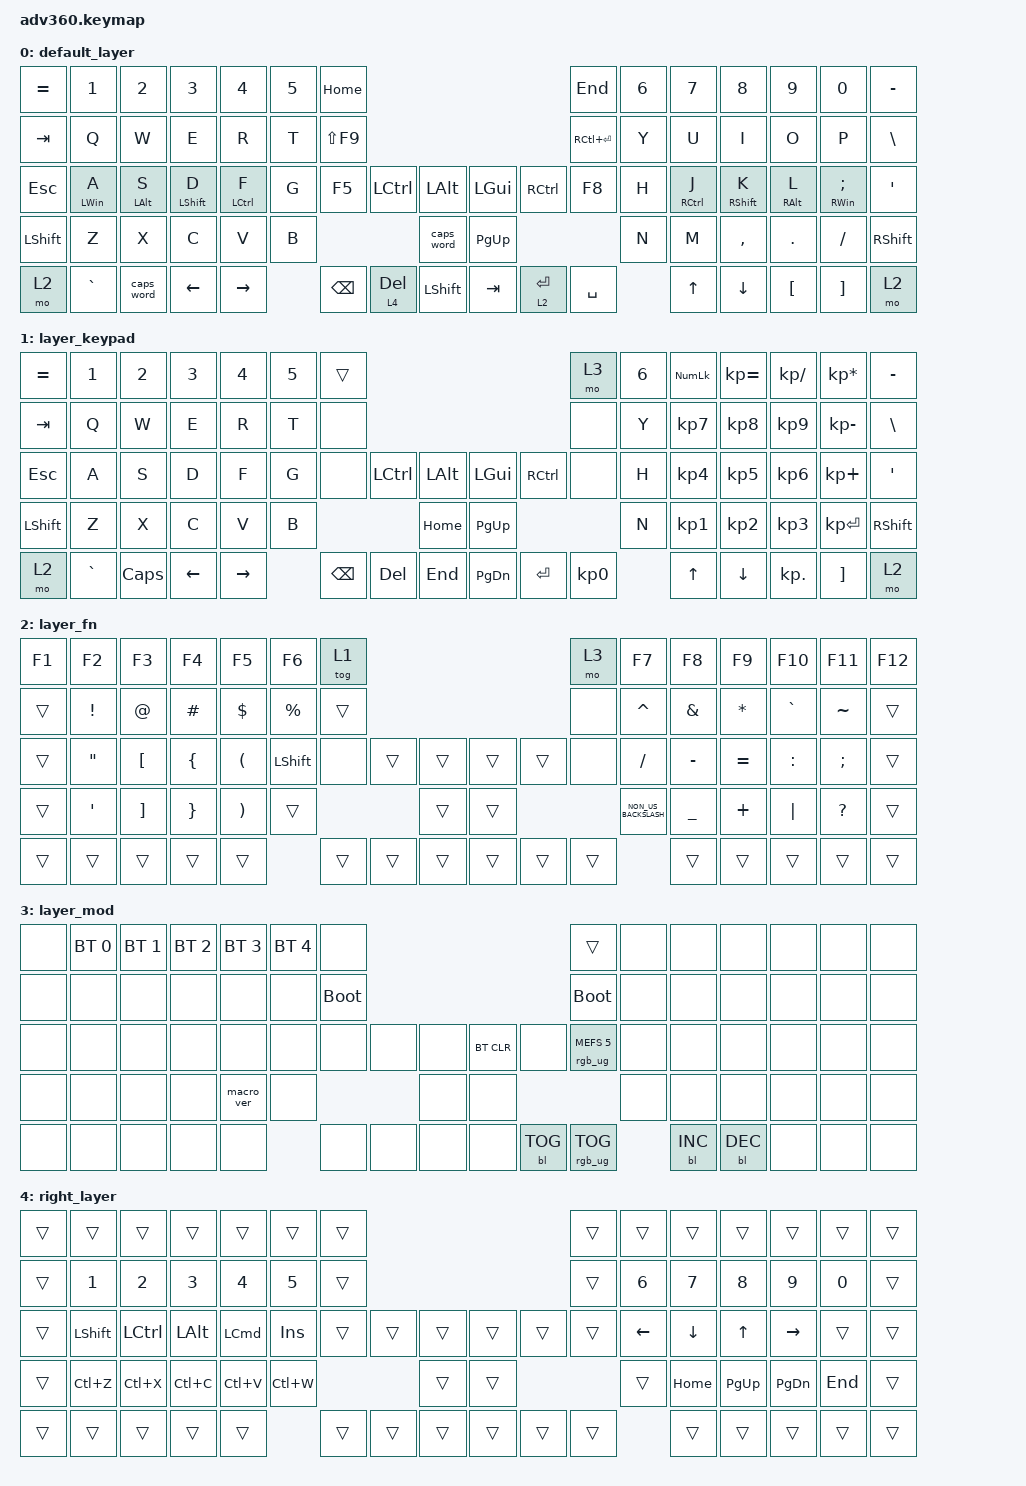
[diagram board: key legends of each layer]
/*
 * Copyright (c) 2020 The ZMK Contributors
 *
 * SPDX-License-Identifier: MIT
 */
/* THIS FILE WAS GENERATED!
 *
 * This file was generated automatically. You may or may not want to
 * edit it directly.
 */

#include <behaviors.dtsi>
#include <dt-bindings/zmk/backlight.h>
#include <dt-bindings/zmk/bt.h>
#include <dt-bindings/zmk/keys.h>
#include <dt-bindings/zmk/rgb.h>

/ {
    behaviors {
        #include "macros.dtsi"
    #include "version.dtsi"

        hm: homerow_mods {
            compatible = "zmk,behavior-hold-tap";
            label = "HOMEROW_MODS";
            #binding-cells = <2>;
            tapping-term-ms = <200>;
            flavor = "tap-preferred";
            quick-tap-ms = <125>;
            global-quick-tap;
            bindings = <&kp>, <&kp>;
        };
    };

    keymap {
        compatible = "zmk,keymap";

        default_layer {
            bindings = <
&kp EQUAL  &kp N1          &kp N2          &kp N3            &kp N4       &kp N5  &kp HOME                                                              &kp END        &kp N6  &kp N7       &kp N8             &kp N9           &kp N0                   &kp MINUS
&kp TAB    &kp Q           &kp W           &kp E             &kp R        &kp T   &kp LS(F9)                                                            &kp RC(ENTER)  &kp Y   &kp U        &kp I              &kp O            &kp P                    &kp BSLH
&kp ESC    &hm LEFT_WIN A  &hm LEFT_ALT S  &hm LEFT_SHIFT D  &hm LCTRL F  &kp G   &kp F5         &kp LCTRL  &kp LALT            &kp LGUI   &kp RCTRL    &kp F8         &kp H   &hm RCTRL J  &hm RIGHT_SHIFT K  &hm RIGHT_ALT L  &hm RIGHT_WIN SEMICOLON  &kp SQT
&kp LSHFT  &kp Z           &kp X           &kp C             &kp V        &kp B                             &caps_word          &kp PG_UP                              &kp N   &kp M        &kp COMMA          &kp DOT          &kp SLASH                &kp RSHFT
&mo 2      &kp GRAVE       &caps_word      &kp LEFT          &kp RIGHT            &kp BACKSPACE  &lt 4 DEL  &kp LEFT_SHIFT      &kp TAB    &lt 2 ENTER  &kp SPACE              &kp UP       &kp DOWN           &kp LBKT         &kp RBKT                 &mo 2
            >;
        };

        layer_keypad {
            bindings = <
&kp EQUAL  &kp N1     &kp N2    &kp N3    &kp N4     &kp N5  &trans                                                   &mo 3      &kp N6  &kp KP_NUM  &kp KP_EQUAL  &kp KP_DIVIDE  &kp KP_MULTIPLY  &kp MINUS
&kp TAB    &kp Q      &kp W     &kp E     &kp R      &kp T   &none                                                    &none      &kp Y   &kp KP_N7   &kp KP_N8     &kp KP_N9      &kp KP_MINUS     &kp BSLH
&kp ESC    &kp A      &kp S     &kp D     &kp F      &kp G   &none     &kp LCTRL  &kp LALT      &kp LGUI   &kp RCTRL  &none      &kp H   &kp KP_N4   &kp KP_N5     &kp KP_N6      &kp KP_PLUS      &kp SQT
&kp LSHFT  &kp Z      &kp X     &kp C     &kp V      &kp B                        &kp HOME      &kp PG_UP                        &kp N   &kp KP_N1   &kp KP_N2     &kp KP_N3      &kp KP_ENTER     &kp RSHFT
&mo 2      &kp GRAVE  &kp CAPS  &kp LEFT  &kp RIGHT          &kp BSPC  &kp DEL    &kp END       &kp PG_DN  &kp ENTER  &kp KP_N0          &kp UP      &kp DOWN      &kp KP_DOT     &kp RBKT         &mo 2
            >;
        };

        layer_fn {
            bindings = <
&kp F1  &kp F2             &kp F3             &kp F4           &kp F5                 &kp F6          &tog 1                                      &mo 3   &kp F7                &kp F8          &kp F9        &kp F10    &kp F11        &kp F12
&trans  &kp EXCLAMATION    &kp AT_SIGN        &kp HASH         &kp DOLLAR             &kp PERCENT     &trans                                      &none   &kp CARET             &kp AMPERSAND   &kp ASTERISK  &kp GRAVE  &kp TILDE      &trans
&trans  &kp DOUBLE_QUOTES  &kp LEFT_BRACKET   &kp LEFT_BRACE   &kp LEFT_PARENTHESIS   &kp LEFT_SHIFT  &none   &trans  &trans      &trans  &trans  &none   &kp SLASH             &kp MINUS       &kp EQUAL     &kp COLON  &kp SEMICOLON  &trans
&trans  &kp SQT            &kp RIGHT_BRACKET  &kp RIGHT_BRACE  &kp RIGHT_PARENTHESIS  &trans                          &trans      &trans                  &kp NON_US_BACKSLASH  &kp UNDERSCORE  &kp PLUS      &kp PIPE   &kp QUESTION   &trans
&trans  &trans             &trans             &trans           &trans                                 &trans  &trans  &trans      &trans  &trans  &trans                        &trans          &trans        &trans     &trans         &trans
            >;
        };

        layer_mod {
            bindings = <
&none  &bt BT_SEL 0  &bt BT_SEL 1  &bt BT_SEL 2  &bt BT_SEL 3  &bt BT_SEL 4  &none                                                  &trans                  &none  &none       &none       &none  &none  &none
&none  &none         &none         &none         &none         &none         &bootloader                                            &bootloader             &none  &none       &none       &none  &none  &none
&none  &none         &none         &none         &none         &none         &none        &none  &none      &bt BT_CLR  &none       &rgb_ug RGB_MEFS_CMD 5  &none  &none       &none       &none  &none  &none
&none  &none         &none         &none         &macro_ver    &none                             &none      &none                                           &none  &none       &none       &none  &none  &none
&none  &none         &none         &none         &none                       &none        &none  &none      &none       &bl BL_TOG  &rgb_ug RGB_TOG                &bl BL_INC  &bl BL_DEC  &none  &none  &none
            >;
        };

        right_layer {
            bindings = <
&trans  &trans          &trans            &trans        &trans            &trans      &trans                                      &trans  &trans    &trans          &trans        &trans         &trans   &trans
&trans  &kp N1          &kp N2            &kp N3        &kp N4            &kp N5      &trans                                      &trans  &kp N6    &kp N7          &kp N8        &kp N9         &kp N0   &trans
&trans  &kp LEFT_SHIFT  &kp LEFT_CONTROL  &kp LEFT_ALT  &kp LEFT_COMMAND  &kp INSERT  &trans  &trans  &trans      &trans  &trans  &trans  &kp LEFT  &kp DOWN_ARROW  &kp UP_ARROW  &kp RIGHT      &trans   &trans
&trans  &kp LC(Z)       &kp LC(X)         &kp LC(C)     &kp LC(V)         &kp LC(W)                   &trans      &trans                  &trans    &kp HOME        &kp PAGE_UP   &kp PAGE_DOWN  &kp END  &trans
&trans  &trans          &trans            &trans        &trans                        &trans  &trans  &trans      &trans  &trans  &trans            &trans          &trans        &trans         &trans   &trans
            >;
        };
    };
};
